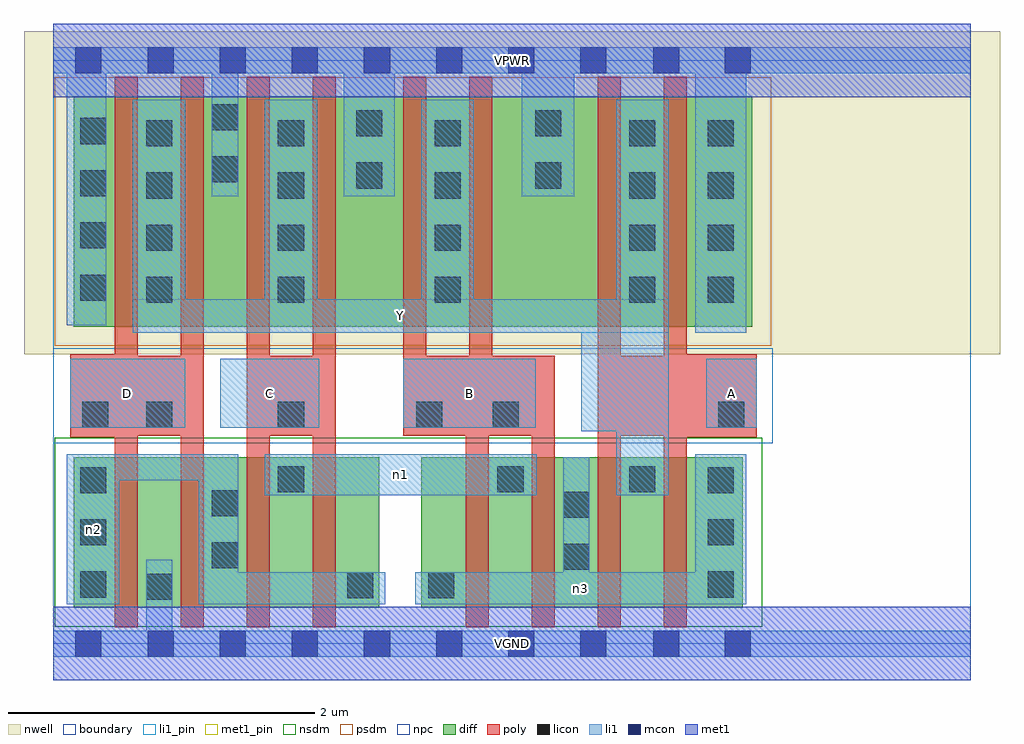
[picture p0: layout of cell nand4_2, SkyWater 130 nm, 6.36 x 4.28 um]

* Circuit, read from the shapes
.subckt nand4_2 A B C D VGND VPWR Y n1 n2 n3
XM1 VGND D n2 VSUBS sky130_fd_pr__nfet_01v8 w=0.98 l=0.15 m=2
XM2 n1 C n2 VSUBS sky130_fd_pr__nfet_01v8 w=0.98 l=0.15 m=2
XM3 n1 B n3 VSUBS sky130_fd_pr__nfet_01v8 w=0.98 l=0.15 m=2
XM4 Y A n3 VSUBS sky130_fd_pr__nfet_01v8 w=0.98 l=0.15 m=2
XM5 Y D VPWR n4 sky130_fd_pr__pfet_01v8 w=1.5 l=0.15 m=2
XM6 Y C VPWR n4 sky130_fd_pr__pfet_01v8 w=1.5 l=0.15 m=2
XM7 Y B VPWR n4 sky130_fd_pr__pfet_01v8 w=1.5 l=0.15 m=2
XM8 Y A VPWR n4 sky130_fd_pr__pfet_01v8 w=1.5 l=0.15 m=2
.ends

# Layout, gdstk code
import gdstk
lib = gdstk.Library(unit=1e-6, precision=1e-09)
def R(c, l, rs):  # rectangles x0, y0, x1, y1
    for r in rs: c.add(gdstk.rectangle(r[:2], r[2:], *l))
def A(c, l, x, y, w, h, nx, ny, dx, dy):  # array of equal rectangles
    R(c, l, [(x+i*dx, y+j*dy, x+i*dx+w, y+j*dy+h) for i in range(nx) for j in range(ny)])
nwell = (64, 20)
diff = (65, 20)
poly = (66, 20)
licon = (66, 44)
li1_pin = (67, 16)
li1 = (67, 20)
mcon = (67, 44)
met1_pin = (68, 16)
met1 = (68, 20)
nsdm = (93, 44)
psdm = (94, 20)
npc = (95, 20)
boundary = (235, 4)

nand4_2 = lib.new_cell('nand4_2')
R(nand4_2, nwell, [(-0.19,1.885,6.17,3.99), (0,1.885,5.98,3.99)])
R(nand4_2, diff, [(0.135,0.235,2.125,1.215), (2.4,0.235,4.495,1.215), (0.135,2.065,4.555,3.565)])
A(nand4_2, poly, 0.4, 0.105, 0.15, 3.59, 4, 1, 0.43, 0)
R(nand4_2, poly, [(2.69,0.105,2.84,1.875), (3.12,0.105,3.27,1.875), (3.55,0.105,3.7,3.695), (3.98,0.105,4.13,3.695), (0.11,1.345,0.55,1.885), (3.98,1.345,4.585,1.885), (0.11,1.355,0.98,1.875), (1.26,1.355,1.84,1.875), (2.28,1.355,3.27,1.875), (2.28,1.355,2.43,3.695), (2.71,1.355,2.86,3.695), (3.55,1.355,4.585,1.875)])
A(nand4_2, licon, 0.175, 0.3, 0.17, 0.17, 1, 3, 0, 0.34)
A(nand4_2, licon, 4.265, 0.3, 0.17, 0.17, 1, 3, 0, 0.34)
A(nand4_2, licon, 0.605, 2.22, 0.17, 0.17, 1, 4, 0, 0.34)
A(nand4_2, licon, 1.465, 2.22, 0.17, 0.17, 1, 4, 0, 0.34)
A(nand4_2, licon, 2.485, 2.22, 0.17, 0.17, 1, 4, 0, 0.34)
A(nand4_2, licon, 3.755, 2.22, 0.17, 0.17, 1, 4, 0, 0.34)
A(nand4_2, licon, 4.265, 2.22, 0.17, 0.17, 1, 4, 0, 0.34)
A(nand4_2, licon, 0.175, 2.235, 0.17, 0.17, 1, 4, 0, 0.34)
R(nand4_2, licon, [(0.605,0.285,0.775,0.455), (1.915,0.295,2.085,0.465), (2.445,0.295,2.615,0.465), (3.325,0.48,3.495,0.65), (1.035,0.49,1.205,0.66), (3.325,0.82,3.495,0.99), (1.035,0.83,1.205,1), (1.465,0.985,1.635,1.155), (2.895,0.985,3.065,1.155), (3.755,0.985,3.925,1.155), (0.19,1.405,0.36,1.575), (0.605,1.405,0.775,1.575), (1.465,1.405,1.635,1.575), (2.365,1.405,2.535,1.575), (2.865,1.405,3.035,1.575), (4.335,1.405,4.505,1.575), (1.975,2.965,2.145,3.135), (3.14,2.965,3.31,3.135), (1.035,3.005,1.205,3.175), (1.975,3.305,2.145,3.475), (3.14,3.305,3.31,3.475), (1.035,3.345,1.205,3.515)])
R(nand4_2, li1_pin, [(0.11,1.405,0.86,1.855), (1.09,1.405,1.735,1.855), (2.28,1.405,3.145,1.855), (4.255,1.405,4.585,1.855), (0.52,2.025,4.01,2.245)])
R(nand4_2, li1, [(0,-0.085,5.98,0.085), (0.605,-0.085,0.775,0.545), (0.09,0.255,0.43,1.235), (0.95,0.255,2.165,0.465), (0.95,0.255,1.205,1.235), (2.36,0.255,4.515,0.465), (3.325,0.255,3.495,1.215), (4.185,0.255,4.515,1.235), (1.38,0.965,3.15,1.235), (3.67,0.965,4.01,3.545), (0.09,1.065,1.205,1.235), (3.44,1.385,4.01,2.245), (0.11,1.405,0.86,1.855), (1.09,1.405,1.735,1.855), (2.28,1.405,3.145,1.855), (4.255,1.405,4.585,1.855), (0.52,2.025,4.01,2.245), (0.52,2.025,0.86,3.545), (1.38,2.025,1.72,3.545), (2.4,2.025,2.74,3.545), (4.185,2.025,4.515,3.885), (0.09,2.075,0.345,3.885), (1.035,2.915,1.205,3.885), (1.895,2.915,2.225,3.885), (3.055,2.915,3.395,3.885), (0,3.715,5.98,3.885)])
A(nand4_2, mcon, 0.145, -0.085, 0.17, 0.17, 8, 2, 0.47, 3.8)
R(nand4_2, mcon, [(3.91,-0.085,4.08,0.085), (4.375,-0.085,4.545,0.085), (3.91,3.715,4.08,3.885), (4.375,3.715,4.545,3.885)])
R(nand4_2, met1_pin, [(0,-0.24,5.98,0.24), (0,3.56,5.98,4.04)])
R(nand4_2, met1, [(0,-0.24,5.98,0.24), (0,3.56,5.98,4.04)])
R(nand4_2, nsdm, [(0.01,0.11,4.62,1.34)])
R(nand4_2, psdm, [(0.01,1.94,4.68,3.69)])
R(nand4_2, npc, [(0,1.305,4.69,1.925)])
R(nand4_2, boundary, [(0,0,5.98,3.8)])
nand4_2.add(gdstk.Label('A', (4.42,1.63), layer=67, texttype=5))
nand4_2.add(gdstk.Label('B', (2.712,1.63), layer=67, texttype=5))
nand4_2.add(gdstk.Label('C', (1.412,1.63), layer=67, texttype=5))
nand4_2.add(gdstk.Label('D', (0.485,1.63), layer=67, texttype=5))
nand4_2.add(gdstk.Label('Y', (2.265,2.135), layer=67, texttype=5))
nand4_2.add(gdstk.Label('n2', (0.26,0.745), layer=67, texttype=5))
nand4_2.add(gdstk.Label('n1', (2.265,1.1), layer=67, texttype=5))
nand4_2.add(gdstk.Label('n3', (3.437,0.36), layer=67, texttype=5))
nand4_2.add(gdstk.Label('VPWR', (2.99,3.8), layer=68, texttype=5))
nand4_2.add(gdstk.Label('VGND', (2.99,0), layer=68, texttype=5))
nand4_2.add(gdstk.Label('A', (4.42,1.63), layer=67, texttype=16))
nand4_2.add(gdstk.Label('B', (2.712,1.63), layer=67, texttype=16))
nand4_2.add(gdstk.Label('C', (1.412,1.63), layer=67, texttype=16))
nand4_2.add(gdstk.Label('D', (0.485,1.63), layer=67, texttype=16))
nand4_2.add(gdstk.Label('Y', (2.265,2.135), layer=67, texttype=16))
nand4_2.add(gdstk.Label('VPWR', (2.99,3.8), layer=68, texttype=16))
nand4_2.add(gdstk.Label('VGND', (2.99,0), layer=68, texttype=16))

lib.write_gds('nand4_2.gds')
